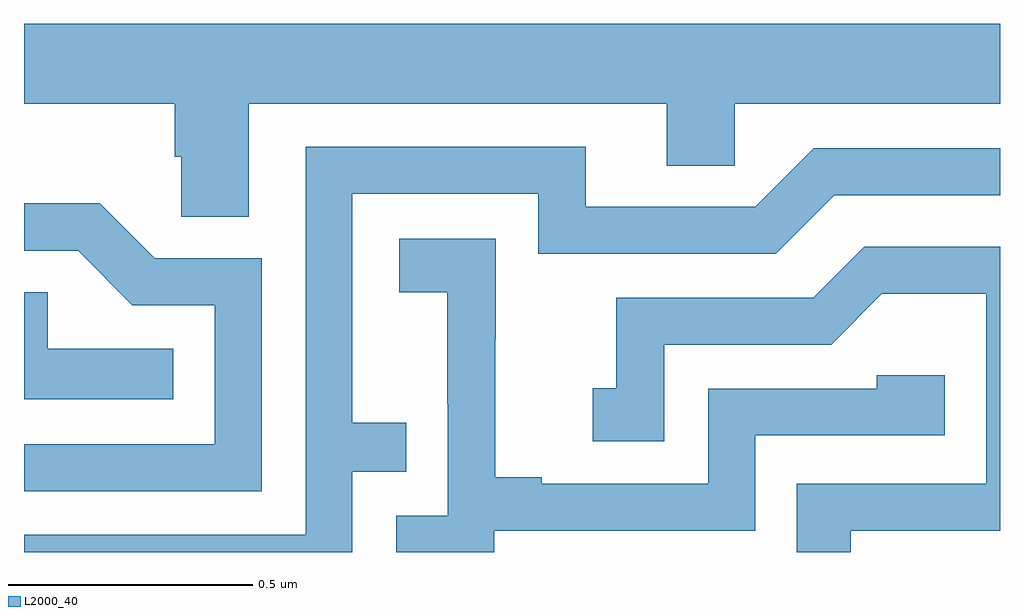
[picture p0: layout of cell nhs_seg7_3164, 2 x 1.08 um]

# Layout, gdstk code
import gdstk
lib = gdstk.Library(unit=1e-6, precision=1e-09)
def P(c, l, *ps):  # polygons
    for p in ps: c.add(gdstk.Polygon(p, *l))
L2000_40 = (2000, 40)

nhs_seg7_3164 = lib.new_cell('nhs_seg7_3164')
P(nhs_seg7_3164, L2000_40, [(155.461,1029.92),(156.317,1029.92),(156.317,1029.793),(156.456,1029.793),(156.456,1029.92),(157,1029.92),(157,1030.084),(155,1030.084),(155,1029.92),(155.309,1029.92),(155.309,1029.811),(155.322,1029.811),(155.322,1029.688),(155.461,1029.688)],
  [(155.673,1029.165),(155.783,1029.165),(155.783,1029.266),(155.673,1029.266),(155.673,1029.735),(156.054,1029.735),(156.054,1029.612),(156.54,1029.612),(156.66,1029.732),(157,1029.732),(157,1029.828),(156.618,1029.828),(156.498,1029.708),(156.151,1029.708),(156.151,1029.831),(155.577,1029.831),(155.577,1029.036),(155,1029.036),(155,1029),(155.673,1029)],
  [(155.487,1029.603),(155.268,1029.603),(155.155,1029.716),(155,1029.716),(155,1029.618),(155.111,1029.618),(155.222,1029.507),(155.391,1029.507),(155.391,1029.222),(155,1029.222),(155,1029.126),(155.487,1029.126)],
  [(155.964,1029.045),(156.498,1029.045),(156.498,1029.24),(156.887,1029.24),(156.887,1029.363),(156.747,1029.363),(156.747,1029.336),(156.402,1029.336),(156.402,1029.141),(156.061,1029.141),(156.061,1029.154),(155.966,1029.154),(155.966,1029.437),(155.967,1029.437),(155.967,1029.643),(155.769,1029.643),(155.769,1029.533),(155.867,1029.533),(155.867,1029.305),(155.868,1029.305),(155.868,1029.075),(155.763,1029.075),(155.763,1029),(155.964,1029)],
  [(156.694,1029.045),(157,1029.045),(157,1029.627),(156.722,1029.627),(156.617,1029.522),(156.214,1029.522),(156.214,1029.337),(156.165,1029.337),(156.165,1029.228),(156.312,1029.228),(156.312,1029.426),(156.654,1029.426),(156.758,1029.53),(156.972,1029.53),(156.972,1029.141),(156.583,1029.141),(156.583,1029),(156.694,1029)],
  [(155.306,1029.418),(155.049,1029.418),(155.049,1029.533),(155,1029.533),(155,1029.314),(155.306,1029.314)])

lib.write_gds('nhs_seg7_3164.gds')
